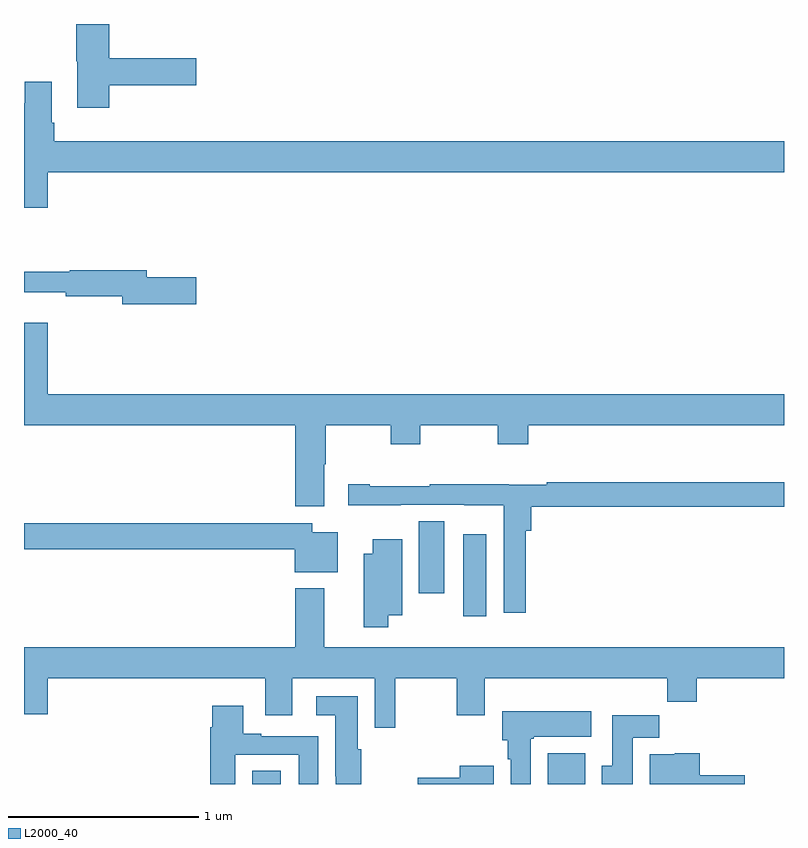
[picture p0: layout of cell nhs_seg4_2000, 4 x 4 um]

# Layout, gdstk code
import gdstk
lib = gdstk.Library(unit=1e-6, precision=1e-09)
def R(c, l, rs):  # rectangles x0, y0, x1, y1
    for r in rs: c.add(gdstk.rectangle(r[:2], r[2:], *l))
def P(c, l, *ps):  # polygons
    for p in ps: c.add(gdstk.Polygon(p, *l))
L2000_40 = (2000, 40)

nhs_seg4_2000 = lib.new_cell('nhs_seg4_2000')
R(nhs_seg4_2000, L2000_40, [(214.202,826.9,214.351,826.97), (215.756,826.9,215.953,827.062), (215.312,827.784,215.434,828.214), (215.078,827.904,215.212,828.284)])
P(nhs_seg4_2000, L2000_40, [(213.449,830.578),(213.907,830.578),(213.907,830.72),(213.449,830.72),(213.449,830.9),(213.274,830.9),(213.274,830.703),(213.281,830.703),(213.281,830.46),(213.449,830.46)],
  [(213.124,830.12),(217,830.12),(217,830.284),(213.158,830.284),(213.158,830.38),(213.145,830.38),(213.145,830.596),(213.005,830.596),(213.005,830.483),(213,830.483),(213,829.932),(213.124,829.932)],
  [(213.907,829.568),(213.646,829.568),(213.646,829.604),(213.242,829.604),(213.242,829.597),(213,829.597),(213,829.487),(213.22,829.487),(213.22,829.468),(213.518,829.468),(213.518,829.426),(213.907,829.426)],
  [(214.579,828.584),(214.587,828.584),(214.587,828.788),(214.93,828.788),(214.93,828.689),(215.085,828.689),(215.085,828.788),(215.494,828.788),(215.494,828.689),(215.654,828.689),(215.654,828.788),(217,828.788),(217,828.952),(213.124,828.952),(213.124,829.327),(213,829.327),(213,828.788),(214.427,828.788),(214.427,828.363),(214.579,828.363)],
  [(215.642,828.233),(215.669,828.233),(215.669,828.358),(217,828.358),(217,828.487),(215.752,828.487),(215.752,828.476),(215.55,828.476),(215.55,828.478),(215.135,828.478),(215.135,828.468),(214.819,828.468),(214.819,828.478),(214.707,828.478),(214.707,828.368),(214.982,828.368),(214.982,828.369),(215.316,828.369),(215.316,828.368),(215.526,828.368),(215.526,827.802),(215.642,827.802)],
  [(214.651,828.226),(214.518,828.226),(214.518,828.272),(213,828.272),(213,828.136),(214.424,828.136),(214.424,828.014),(214.651,828.014)],
  [(214.917,827.789),(214.99,827.789),(214.99,828.187),(214.835,828.187),(214.835,828.112),(214.787,828.112),(214.787,827.724),(214.917,827.724)],
  [(214.954,827.456),(215.278,827.456),(215.278,827.262),(215.425,827.262),(215.425,827.456),(216.385,827.456),(216.385,827.332),(216.542,827.332),(216.542,827.456),(217,827.456),(217,827.62),(214.579,827.62),(214.579,827.929),(214.427,827.929),(214.427,827.62),(213,827.62),(213,827.268),(213.124,827.268),(213.124,827.456),(214.271,827.456),(214.271,827.262),(214.411,827.262),(214.411,827.456),(214.845,827.456),(214.845,827.196),(214.954,827.196)],
  [(214.774,827.082),(214.756,827.082),(214.756,827.362),(214.539,827.362),(214.539,827.261),(214.637,827.261),(214.637,826.942),(214.641,826.942),(214.641,826.9),(214.774,826.9)],
  [(214.111,827.055),(214.445,827.055),(214.445,826.9),(214.549,826.9),(214.549,827.151),(214.249,827.151),(214.249,827.164),(214.153,827.164),(214.153,827.311),(213.992,827.311),(213.992,827.198),(213.98,827.198),(213.98,826.9),(214.111,826.9)],
  [(215.668,827.137),(215.682,827.137),(215.682,827.15),(215.986,827.15),(215.986,827.284),(215.516,827.284),(215.516,827.13),(215.546,827.13),(215.546,827.03),(215.561,827.03),(215.561,826.9),(215.668,826.9)],
  [(216.205,827.144),(216.344,827.144),(216.344,827.263),(216.095,827.263),(216.095,826.996),(216.041,826.996),(216.041,826.9),(216.205,826.9)],
  [(216.793,826.946),(216.557,826.946),(216.557,827.062),(216.426,827.062),(216.426,827.056),(216.293,827.056),(216.293,826.9),(216.793,826.9)],
  [(215.473,826.996),(215.294,826.996),(215.294,826.933),(215.072,826.933),(215.072,826.9),(215.473,826.9)])

lib.write_gds('nhs_seg4_2000.gds')
